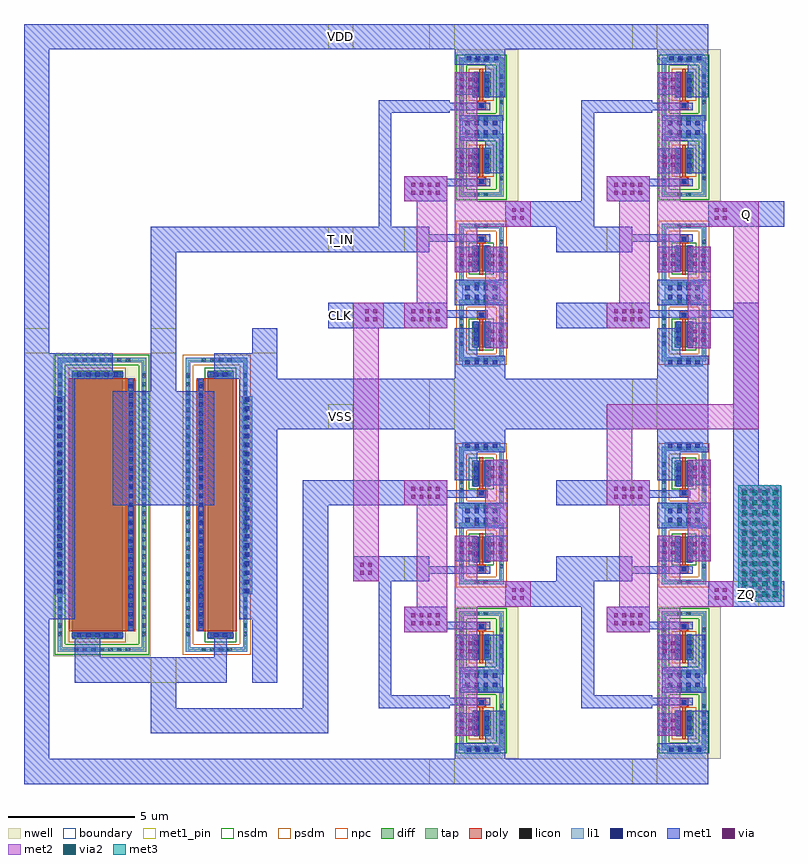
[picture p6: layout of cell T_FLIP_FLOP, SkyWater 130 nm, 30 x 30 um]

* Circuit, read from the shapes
.subckt T_FLIP_FLOP CLK Q T_IN VDD VSS ZQ
XM1 VSS T_IN inv_x4_4/INV_OUT VSS sky130_fd_pr__nfet_01v8 w=1 l=10
XM2 n1 CLK NAND2_1/NAND_IN_1 VSS sky130_fd_pr__nfet_01v8 w=1 l=0.15
XM3 n1 inv_x4_4/INV_OUT VSS VSS sky130_fd_pr__nfet_01v8 w=1 l=0.15
XM4 n2 CLK VSS VSS sky130_fd_pr__nfet_01v8 w=1 l=0.15
XM5 n2 T_IN NAND2_3/NAND_IN_1 VSS sky130_fd_pr__nfet_01v8 w=1 l=0.15
XM6 n3 NAND2_1/NAND_IN_1 ZQ VSS sky130_fd_pr__nfet_01v8 w=1 l=0.15
XM7 n3 Q VSS VSS sky130_fd_pr__nfet_01v8 w=1 l=0.15
XM8 n4 ZQ VSS VSS sky130_fd_pr__nfet_01v8 w=1 l=0.15
XM9 n4 NAND2_3/NAND_IN_1 Q VSS sky130_fd_pr__nfet_01v8 w=1 l=0.15
XM10 VDD T_IN inv_x4_4/INV_OUT VDD sky130_fd_pr__pfet_01v8 w=2 l=10
XM11 VDD CLK NAND2_1/NAND_IN_1 VDD sky130_fd_pr__pfet_01v8 w=1 l=0.15
XM12 VDD inv_x4_4/INV_OUT NAND2_1/NAND_IN_1 VDD sky130_fd_pr__pfet_01v8 w=1 l=0.15
XM13 VDD CLK NAND2_3/NAND_IN_1 VDD sky130_fd_pr__pfet_01v8 w=1 l=0.15
XM14 VDD T_IN NAND2_3/NAND_IN_1 VDD sky130_fd_pr__pfet_01v8 w=1 l=0.15
XM15 VDD NAND2_1/NAND_IN_1 ZQ VDD sky130_fd_pr__pfet_01v8 w=1 l=0.15
XM16 VDD Q ZQ VDD sky130_fd_pr__pfet_01v8 w=1 l=0.15
XM17 VDD ZQ Q VDD sky130_fd_pr__pfet_01v8 w=1 l=0.15
XM18 VDD NAND2_3/NAND_IN_1 Q VDD sky130_fd_pr__pfet_01v8 w=1 l=0.15
.ends

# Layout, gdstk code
from math import pi, radians
import gdstk
lib = gdstk.Library(unit=1e-6, precision=1e-09)
def R(c, l, rs):  # rectangles x0, y0, x1, y1
    for r in rs: c.add(gdstk.rectangle(r[:2], r[2:], *l))
def A(c, l, x, y, w, h, nx, ny, dx, dy):  # array of equal rectangles
    R(c, l, [(x+i*dx, y+j*dy, x+i*dx+w, y+j*dy+h) for i in range(nx) for j in range(ny)])
nwell = (64, 20)
diff = (65, 20)
tap = (65, 44)
poly = (66, 20)
licon = (66, 44)
li1 = (67, 20)
mcon = (67, 44)
met1_pin = (68, 16)
met1 = (68, 20)
via = (68, 44)
met2 = (69, 20)
via2 = (69, 44)
met3 = (70, 20)
nsdm = (93, 44)
psdm = (94, 20)
npc = (95, 20)
boundary = (235, 4)

sky130_fd_pr__nfet_01v8_ = lib.new_cell('sky130_fd_pr__nfet_01v8_64Z3AY')
R(sky130_fd_pr__nfet_01v8_, diff, [(-0.365,-0.655,0.365,0.345)])
R(sky130_fd_pr__nfet_01v8_, tap, [(-0.875,-1.215,0.875,-1.045), (-0.875,-1.045,-0.705,1.045), (0.705,-1.045,0.875,1.045), (-0.875,1.045,0.875,1.215)])
R(sky130_fd_pr__nfet_01v8_, poly, [(-0.075,-0.785,0.075,0.455), (-0.165,0.455,0.165,0.785)])
A(sky130_fd_pr__nfet_01v8_, licon, -0.875, -0.595, 0.17, 0.17, 1, 4, 0, 0.34)
A(sky130_fd_pr__nfet_01v8_, licon, 0.705, -0.595, 0.17, 0.17, 1, 4, 0, 0.34)
A(sky130_fd_pr__nfet_01v8_, licon, -0.305, -0.58, 0.17, 0.17, 1, 3, 0, 0.34)
A(sky130_fd_pr__nfet_01v8_, licon, 0.135, -0.58, 0.17, 0.17, 1, 3, 0, 0.34)
R(sky130_fd_pr__nfet_01v8_, licon, [(-0.255,-1.215,-0.085,-1.045), (0.085,-1.215,0.255,-1.045), (-0.085,0.535,0.085,0.705), (-0.255,1.045,-0.085,1.215), (0.085,1.045,0.255,1.215)])
R(sky130_fd_pr__nfet_01v8_, li1, [(-0.875,-1.215,0.875,-1.045), (-0.875,-1.045,-0.705,1.045), (0.705,-1.045,0.875,1.045), (-0.305,-0.675,-0.135,0.365), (0.135,-0.675,0.305,0.365), (-0.165,0.535,0.165,0.705), (-0.875,1.045,0.875,1.215)])
R(sky130_fd_pr__nfet_01v8_, mcon, [(-0.305,-0.42,-0.135,-0.25), (0.135,-0.42,0.305,-0.25), (-0.305,-0.06,-0.135,0.11), (0.135,-0.06,0.305,0.11), (-0.085,0.535,0.085,0.705)])
R(sky130_fd_pr__nfet_01v8_, met1, [(-0.335,-0.655,-0.105,0.345), (0.105,-0.655,0.335,0.345), (-0.145,0.505,0.145,0.735)])
R(sky130_fd_pr__nfet_01v8_, nsdm, [(-0.49,-0.78,0.49,0.47)])
R(sky130_fd_pr__nfet_01v8_, psdm, [(-1,-1.34,1,-0.92), (-1,-0.92,-0.58,0.92), (0.58,-0.92,1,0.92), (-1,0.92,1,1.34)])
R(sky130_fd_pr__nfet_01v8_, npc, [(-0.185,0.435,0.185,0.805)])
R(sky130_fd_pr__nfet_01v8_, boundary, [(-0.79,-1.13,0.79,1.13)])

sky130_fd_pr__pfet_01v8_ = lib.new_cell('sky130_fd_pr__pfet_01v8_LGS3BL')
R(sky130_fd_pr__pfet_01v8_, nwell, [(-1.055,-1.42,1.055,1.42)])
R(sky130_fd_pr__pfet_01v8_, diff, [(-0.365,-0.32,0.365,0.68)])
R(sky130_fd_pr__pfet_01v8_, tap, [(-0.875,-1.24,0.875,-1.07), (-0.875,-1.07,-0.705,1.07), (0.705,-1.07,0.875,1.07), (-0.875,1.07,0.875,1.24)])
R(sky130_fd_pr__pfet_01v8_, poly, [(-0.165,-0.805,0.165,-0.475), (-0.075,-0.475,0.075,0.81)])
A(sky130_fd_pr__pfet_01v8_, licon, -0.875, -0.595, 0.17, 0.17, 1, 4, 0, 0.34)
A(sky130_fd_pr__pfet_01v8_, licon, 0.705, -0.595, 0.17, 0.17, 1, 4, 0, 0.34)
A(sky130_fd_pr__pfet_01v8_, licon, -0.305, -0.245, 0.17, 0.17, 1, 3, 0, 0.34)
A(sky130_fd_pr__pfet_01v8_, licon, 0.135, -0.245, 0.17, 0.17, 1, 3, 0, 0.34)
R(sky130_fd_pr__pfet_01v8_, licon, [(-0.255,-1.24,-0.085,-1.07), (0.085,-1.24,0.255,-1.07), (-0.085,-0.725,0.085,-0.555), (-0.255,1.07,-0.085,1.24), (0.085,1.07,0.255,1.24)])
R(sky130_fd_pr__pfet_01v8_, li1, [(-0.875,-1.24,0.875,-1.07), (-0.875,-1.07,-0.705,1.07), (0.705,-1.07,0.875,1.07), (-0.165,-0.725,0.165,-0.555), (-0.305,-0.34,-0.135,0.7), (0.135,-0.34,0.305,0.7), (-0.875,1.07,0.875,1.24)])
R(sky130_fd_pr__pfet_01v8_, mcon, [(-0.085,-0.725,0.085,-0.555), (-0.305,-0.085,-0.135,0.085), (0.135,-0.085,0.305,0.085), (-0.305,0.275,-0.135,0.445), (0.135,0.275,0.305,0.445)])
R(sky130_fd_pr__pfet_01v8_, met1, [(-0.145,-0.755,0.145,-0.525), (-0.335,-0.32,-0.105,0.68), (0.105,-0.32,0.335,0.68)])
R(sky130_fd_pr__pfet_01v8_, nsdm, [(-1,-1.365,1,-0.945), (-1,-0.945,-0.58,0.945), (0.58,-0.945,1,0.945), (-1,0.945,1,1.365)])
R(sky130_fd_pr__pfet_01v8_, psdm, [(-0.49,-0.445,0.49,0.805)])
R(sky130_fd_pr__pfet_01v8_, npc, [(-0.185,-0.825,0.185,-0.455)])
R(sky130_fd_pr__pfet_01v8_, boundary, [(-0.79,-1.155,0.79,1.155)])

nand2 = lib.new_cell('NAND2')
R(nand2, nwell, [(3,2,5.5,8)])
R(nand2, li1, [(3.3,-4.5,4.8,-4.2), (3.3,-2,4.8,-1.2), (3.3,4.5,4.8,5.3), (3.4,7.5,4.8,7.8)])
A(nand2, mcon, 3.425, -4.435, 0.17, 0.17, 4, 2, 0.36, 2.57)
A(nand2, mcon, 3.425, -1.505, 0.17, 0.17, 4, 2, 0.36, 6.14)
A(nand2, mcon, 3.425, 4.995, 0.17, 0.17, 4, 1, 0.36, 0)
A(nand2, mcon, 3.475, 7.565, 0.17, 0.17, 4, 1, 0.36, 0)
R(nand2, met1_pin, [(2,-6,3,-5), (1,-3,2,-2), (1,0,2,1), (5,1,6,2), (2,8,3,9)])
R(nand2, met1, [(-1,-6,5,-5), (3,-5,5,-4.1), (3,-4.1,3.9,-3), (4.2,-3.8,5.1,-2.8), (-1,-3,2.7,-2.6), (-1,-2.6,4.3,-2.3), (-1,-2.3,2.7,-2), (3,-2.1,5.1,-1.1), (3,-0.8,3.9,0.2), (4.2,-0.8,5.1,0.2), (-1,0,2,0.4), (-1,0.4,4.4,0.7), (-1,0.7,2,1), (0,1,0.5,5.5), (5,1,6,2), (1,2,2.7,2.6), (1,2.6,4.4,2.9), (1,2.9,2.7,3), (3,3.1,3.9,4.1), (4.2,3.1,4.9,4.4), (3.2,4.4,4.9,5.4), (0,5.5,2.8,5.6), (0,5.6,4.4,5.9), (0,5.9,2.8,6), (4.2,6.1,5,7.4), (3,6.2,3.9,7.1), (3,7.4,5,8), (-1,8,5,9)])
A(nand2, via, 1.295, -2.735, 0.15, 0.15, 4, 2, 0.32, 0.32)
A(nand2, via, 1.295, 2.265, 0.15, 0.15, 4, 2, 0.32, 0.32)
R(nand2, via, [(4.415,-3.535,4.565,-3.385), (4.735,-3.535,4.885,-3.385), (4.415,-3.215,4.565,-3.065), (4.735,-3.215,4.885,-3.065), (3.215,-0.535,3.365,-0.385), (3.535,-0.535,3.685,-0.385), (4.415,-0.535,4.565,-0.385), (4.735,-0.535,4.885,-0.385), (3.215,-0.215,3.365,-0.065), (3.535,-0.215,3.685,-0.065), (4.415,-0.215,4.565,-0.065), (4.735,-0.215,4.885,-0.065), (5.265,1.265,5.415,1.415), (5.585,1.265,5.735,1.415), (5.265,1.585,5.415,1.735), (5.585,1.585,5.735,1.735), (3.215,3.365,3.365,3.515), (3.535,3.365,3.685,3.515), (3.215,3.685,3.365,3.835), (3.535,3.685,3.685,3.835), (3.215,6.415,3.365,6.565), (3.535,6.415,3.685,6.565), (3.215,6.735,3.365,6.885), (3.535,6.735,3.685,6.885)])
R(nand2, met2, [(4.2,-3.8,5.1,0.2), (1,-3,2.7,-2), (1.5,-2,2.7,2), (3,-0.8,3.9,1), (3,1,6,2), (1,2,2.7,3), (3,2,3.9,7.1)])
R(nand2, nsdm, [(3.055,4.785,5.055,5.055)])
R(nand2, psdm, [(3.055,-1.765,5.055,-1.445)])
nand2.add(gdstk.Reference(sky130_fd_pr__nfet_01v8_, (4.055,-0.105)))
nand2.add(gdstk.Reference(sky130_fd_pr__pfet_01v8_, (4.055,6.42)))
nand2.add(gdstk.Reference(sky130_fd_pr__nfet_01v8_, (4.055,-3.105)))
nand2.add(gdstk.Reference(sky130_fd_pr__pfet_01v8_, (4.055,3.42)))
nand2.add(gdstk.Label('VSS', (2.5,-5.5), layer=68, texttype=5))
nand2.add(gdstk.Label('NAND_IN_1', (1.5,0.5), layer=68, texttype=5))
nand2.add(gdstk.Label('VDD', (2.5,8.5), layer=68, texttype=5))
nand2.add(gdstk.Label('NAND_IN_0', (1.5,-2.5), layer=68, texttype=5))
nand2.add(gdstk.Label('NAND_OUT', (5.5,1.5), layer=68, texttype=5))

c_sky130_fd_pr__pfet_01v8_ = lib.new_cell('sky130_fd_pr__pfet_01v8_P6BKAN')
R(c_sky130_fd_pr__pfet_01v8_, nwell, [(-5.98,-1.92,5.98,1.92)])
R(c_sky130_fd_pr__pfet_01v8_, diff, [(-5.29,-0.82,5.29,1.18)])
R(c_sky130_fd_pr__pfet_01v8_, tap, [(-5.8,-1.74,5.8,-1.57), (-5.8,-1.57,-5.63,1.57), (5.63,-1.57,5.8,1.57), (-5.8,1.57,5.8,1.74)])
R(c_sky130_fd_pr__pfet_01v8_, poly, [(-5,-1.305,5,1.31)])
A(c_sky130_fd_pr__pfet_01v8_, licon, -5.185, -1.74, 0.17, 0.17, 31, 2, 0.34, 3.31)
A(c_sky130_fd_pr__pfet_01v8_, licon, -4.845, -1.225, 0.17, 0.17, 29, 1, 0.34, 0)
A(c_sky130_fd_pr__pfet_01v8_, licon, -5.8, -1.105, 0.17, 0.17, 1, 7, 0, 0.34)
A(c_sky130_fd_pr__pfet_01v8_, licon, 5.63, -1.105, 0.17, 0.17, 1, 7, 0, 0.34)
A(c_sky130_fd_pr__pfet_01v8_, licon, -5.23, -0.755, 0.17, 0.17, 1, 6, 0, 0.34)
A(c_sky130_fd_pr__pfet_01v8_, licon, 5.06, -0.755, 0.17, 0.17, 1, 6, 0, 0.34)
R(c_sky130_fd_pr__pfet_01v8_, li1, [(-5.8,-1.74,5.8,-1.57), (-5.8,-1.57,-5.63,1.57), (5.63,-1.57,5.8,1.57), (-5,-1.225,5,-1.055), (-5.23,-0.84,-5.06,1.2), (5.06,-0.84,5.23,1.2), (-5.8,1.57,5.8,1.74)])
A(c_sky130_fd_pr__pfet_01v8_, mcon, -4.765, -1.225, 0.17, 0.17, 27, 1, 0.36, 0)
A(c_sky130_fd_pr__pfet_01v8_, mcon, -5.23, -0.625, 0.17, 0.17, 1, 5, 0, 0.36)
A(c_sky130_fd_pr__pfet_01v8_, mcon, 5.06, -0.625, 0.17, 0.17, 1, 5, 0, 0.36)
R(c_sky130_fd_pr__pfet_01v8_, met1, [(-4.98,-1.255,4.98,-1.025), (-5.26,-0.82,-5.03,1.18), (5.03,-0.82,5.26,1.18)])
R(c_sky130_fd_pr__pfet_01v8_, nsdm, [(-5.925,-1.865,5.925,-1.445), (-5.925,-1.445,-5.505,1.445), (5.505,-1.445,5.925,1.445), (-5.925,1.445,5.925,1.865)])
R(c_sky130_fd_pr__pfet_01v8_, psdm, [(-5.415,-0.945,5.415,1.305)])
R(c_sky130_fd_pr__pfet_01v8_, npc, [(-4.945,-1.325,4.945,-0.955)])
R(c_sky130_fd_pr__pfet_01v8_, boundary, [(-5.715,-1.655,5.715,1.655)])

c_sky130_fd_pr__nfet_01v8_ = lib.new_cell('sky130_fd_pr__nfet_01v8_QXQT3M')
R(c_sky130_fd_pr__nfet_01v8_, diff, [(-5.29,-0.655,5.29,0.345)])
R(c_sky130_fd_pr__nfet_01v8_, tap, [(-5.8,-1.215,5.8,-1.045), (-5.8,-1.045,-5.63,1.045), (5.63,-1.045,5.8,1.045), (-5.8,1.045,5.8,1.215)])
R(c_sky130_fd_pr__nfet_01v8_, poly, [(-5,-0.785,5,0.785)])
A(c_sky130_fd_pr__nfet_01v8_, licon, -5.185, -1.215, 0.17, 0.17, 31, 2, 0.34, 2.26)
A(c_sky130_fd_pr__nfet_01v8_, licon, -5.8, -0.595, 0.17, 0.17, 1, 4, 0, 0.34)
A(c_sky130_fd_pr__nfet_01v8_, licon, 5.63, -0.595, 0.17, 0.17, 1, 4, 0, 0.34)
A(c_sky130_fd_pr__nfet_01v8_, licon, -5.23, -0.58, 0.17, 0.17, 1, 3, 0, 0.34)
A(c_sky130_fd_pr__nfet_01v8_, licon, 5.06, -0.58, 0.17, 0.17, 1, 3, 0, 0.34)
A(c_sky130_fd_pr__nfet_01v8_, licon, -4.845, 0.535, 0.17, 0.17, 29, 1, 0.34, 0)
R(c_sky130_fd_pr__nfet_01v8_, li1, [(-5.8,-1.215,5.8,-1.045), (-5.8,-1.045,-5.63,1.045), (5.63,-1.045,5.8,1.045), (-5.23,-0.675,-5.06,0.365), (5.06,-0.675,5.23,0.365), (-5,0.535,5,0.705), (-5.8,1.045,5.8,1.215)])
A(c_sky130_fd_pr__nfet_01v8_, mcon, -4.765, 0.535, 0.17, 0.17, 27, 1, 0.36, 0)
R(c_sky130_fd_pr__nfet_01v8_, mcon, [(-5.23,-0.42,-5.06,-0.25), (5.06,-0.42,5.23,-0.25), (-5.23,-0.06,-5.06,0.11), (5.06,-0.06,5.23,0.11)])
R(c_sky130_fd_pr__nfet_01v8_, met1, [(-5.26,-0.655,-5.03,0.345), (5.03,-0.655,5.26,0.345), (-4.98,0.505,4.98,0.735)])
R(c_sky130_fd_pr__nfet_01v8_, nsdm, [(-5.415,-0.78,5.415,0.47)])
R(c_sky130_fd_pr__nfet_01v8_, psdm, [(-5.925,-1.34,5.925,-0.92), (-5.925,-0.92,-5.505,0.92), (5.505,-0.92,5.925,0.92), (-5.925,0.92,5.925,1.34)])
R(c_sky130_fd_pr__nfet_01v8_, npc, [(-4.945,0.435,4.945,0.805)])
R(c_sky130_fd_pr__nfet_01v8_, boundary, [(-5.715,-1.13,5.715,1.13)])

inv_x4 = lib.new_cell('inv_x4')
R(inv_x4, li1, [(6.7,-5,14.5,-4.6), (6.7,2.4,14.5,2.8)])
A(inv_x4, mcon, 6.735, -4.885, 0.17, 0.17, 22, 2, 0.36, 7.4)
R(inv_x4, met1_pin, [(4,-6,5,-5), (4,-2,5,-1), (17,-2,18,-1), (4,3,5,4)])
R(inv_x4, met1, [(4,-6,18,-5), (5,-5,15.5,-4.5), (5,-4.5,6,-3.5), (16,-4,18,-3.5), (6.5,-3.5,11,-2), (17,-3.5,18,1), (4,-2,11,-1), (6.5,-1,11,0.5), (5,0.5,6,2), (16,1,18,2), (5,2,15.5,3), (4,3,18,4)])
inv_x4.add(gdstk.Reference(c_sky130_fd_pr__pfet_01v8_, (10.98,0.92)))
inv_x4.add(gdstk.Reference(c_sky130_fd_pr__nfet_01v8_, (10.98,-3.605)))
inv_x4.add(gdstk.Label('INV_IN', (4.5,-1.5), layer=68, texttype=5))
inv_x4.add(gdstk.Label('INV_OUT', (17.5,-1.5), layer=68, texttype=5))
inv_x4.add(gdstk.Label('VSS', (4.5,-5.5), layer=68, texttype=5))
inv_x4.add(gdstk.Label('VDD', (4.5,3.5), layer=68, texttype=5))

t_flip_flop = lib.new_cell('T_FLIP_FLOP')
R(t_flip_flop, met1_pin, [(32,-13,33,-12), (16,-6,17,-5), (16,-2,17,-1), (16,1,17,2), (32,2,33,3), (16,9,17,10)])
R(t_flip_flop, met1, [(4,-20,17,-19), (20,-20,30,-19), (4,-19,5,-16), (9,-18,16,-17), (9,-17,10,-15), (15,-17,16,-9), (24,-13,26,-12), (32,-13,34,-12), (32,-12,33.9,-8.2), (17.1,-11.9,17.9,-11.1), (15,-9,17,-8), (32,-8.2,33,-1.6), (13,-6,17,-4), (23,-6,29,-4), (4,-5,5,9), (9,-4,10,-3), (9,-2,10,1), (16,-2,17,-1), (17.3,-1.9,18.1,-1.1), (30.2,-1.6,33,-1.3), (32,-1.3,33,-1), (9,1,17,2), (24,2,26,3), (32,2,34,3), (4,9,27,10)])
A(t_flip_flop, via, 32.335, -12.655, 0.15, 0.15, 5, 14, 0.32, 0.32)
R(t_flip_flop, via, [(17.265,-11.735,17.415,-11.585), (17.585,-11.735,17.735,-11.585), (17.265,-11.415,17.415,-11.265), (17.585,-11.415,17.735,-11.265), (17.465,-1.735,17.615,-1.585), (17.785,-1.735,17.935,-1.585), (17.465,-1.415,17.615,-1.265), (17.785,-1.415,17.935,-1.265)])
R(t_flip_flop, met2, [(32.2,-12.8,33.9,-8.2), (17,-12,18,-2), (27,-9,28,-6), (27,-6,33,-5), (32,-5,33,3), (17,-2,18.2,-1)])
A(t_flip_flop, via2, 32.35, -12.6, 0.2, 0.2, 4, 11, 0.4, 0.4)
R(t_flip_flop, met3, [(32.2,-12.8,33.9,-8.2)])
t_flip_flop.add(gdstk.Reference(nand2, (18,-11), x_reflection=True))
t_flip_flop.add(gdstk.Reference(nand2, (26,-11), x_reflection=True))
t_flip_flop.add(gdstk.Reference(nand2, (18,1)))
t_flip_flop.add(gdstk.Reference(nand2, (26,1)))
t_flip_flop.add(gdstk.Reference(inv_x4, (8,2), rotation=3*pi/2, x_reflection=True))
t_flip_flop.add(gdstk.Label('VSS', (16.5,-5.5), layer=68, texttype=5))
t_flip_flop.add(gdstk.Label('VDD', (16.5,9.5), layer=68, texttype=5))
t_flip_flop.add(gdstk.Label('CLK', (16.5,-1.5), layer=68, texttype=5))
t_flip_flop.add(gdstk.Label('ZQ', (32.5,-12.5), layer=68, texttype=5))
t_flip_flop.add(gdstk.Label('T_IN', (16.5,1.5), layer=68, texttype=5))
t_flip_flop.add(gdstk.Label('Q', (32.5,2.5), layer=68, texttype=5))

lib.write_gds('T_FLIP_FLOP.gds')
